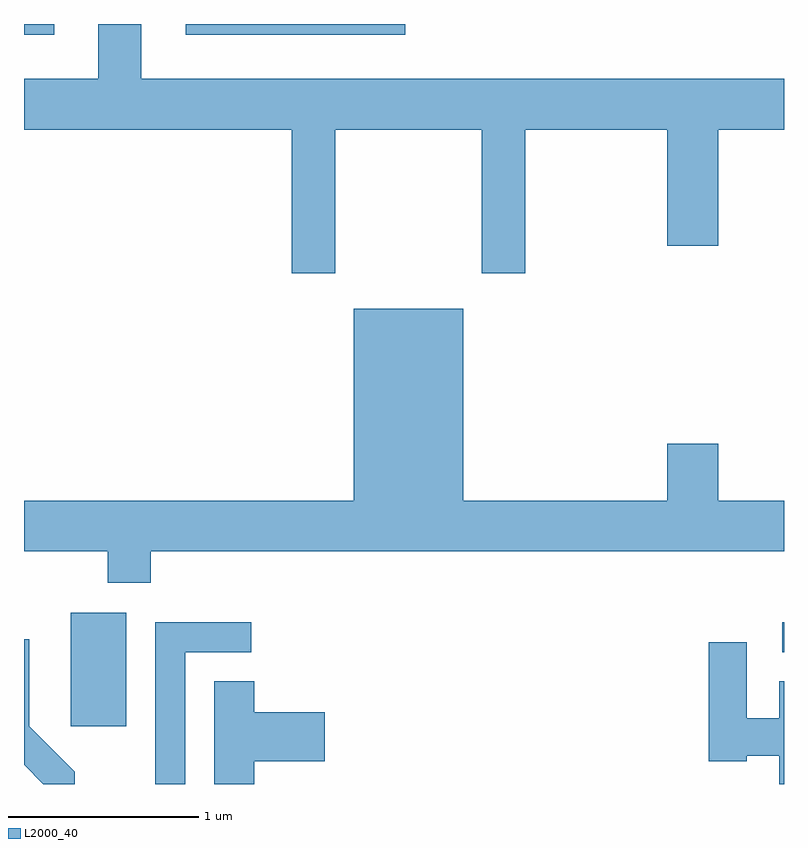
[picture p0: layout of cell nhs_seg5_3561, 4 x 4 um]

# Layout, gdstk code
import gdstk
lib = gdstk.Library(unit=1e-6, precision=1e-09)
def R(c, l, rs):  # rectangles x0, y0, x1, y1
    for r in rs: c.add(gdstk.rectangle(r[:2], r[2:], *l))
def P(c, l, *ps):  # polygons
    for p in ps: c.add(gdstk.Polygon(p, *l))
L2000_40 = (2000, 40)

nhs_seg5_3561 = lib.new_cell('nhs_seg5_3561')
R(nhs_seg5_3561, L2000_40, [(291.856,1400.376,292.149,1400.974), (295.603,1400.766,295.611,1400.924), (291.611,1404.016,291.769,1404.072), (292.461,1404.016,293.618,1404.072)])
P(nhs_seg5_3561, L2000_40, [(293.249,1403.516),(294.021,1403.516),(294.021,1402.761),(294.249,1402.761),(294.249,1403.516),(294.996,1403.516),(294.996,1402.906),(295.264,1402.906),(295.264,1403.516),(295.611,1403.516),(295.611,1403.784),(292.229,1403.784),(292.229,1404.072),(292.001,1404.072),(292.001,1403.784),(291.611,1403.784),(291.611,1403.516),(293.021,1403.516),(293.021,1402.761),(293.249,1402.761)],
  [(292.279,1401.296),(295.611,1401.296),(295.611,1401.564),(295.264,1401.564),(295.264,1401.864),(294.996,1401.864),(294.996,1401.564),(293.924,1401.564),(293.924,1402.574),(293.346,1402.574),(293.346,1401.564),(291.611,1401.564),(291.611,1401.296),(292.051,1401.296),(292.051,1401.131),(292.279,1401.131)],
  [(292.459,1400.766),(292.808,1400.766),(292.808,1400.924),(292.301,1400.924),(292.301,1400.072),(292.459,1400.072)],
  [(291.879,1400.137),(291.639,1400.377),(291.639,1400.833),(291.611,1400.833),(291.611,1400.174),(291.713,1400.072),(291.879,1400.072)],
  [(295.611,1400.614),(295.586,1400.614),(295.586,1400.419),(295.414,1400.419),(295.414,1400.819),(295.216,1400.819),(295.216,1400.191),(295.414,1400.191),(295.414,1400.221),(295.586,1400.221),(295.586,1400.072),(295.611,1400.072)],
  [(292.824,1400.191),(293.194,1400.191),(293.194,1400.449),(292.824,1400.449),(292.824,1400.614),(292.611,1400.614),(292.611,1400.072),(292.824,1400.072)])

lib.write_gds('nhs_seg5_3561.gds')
